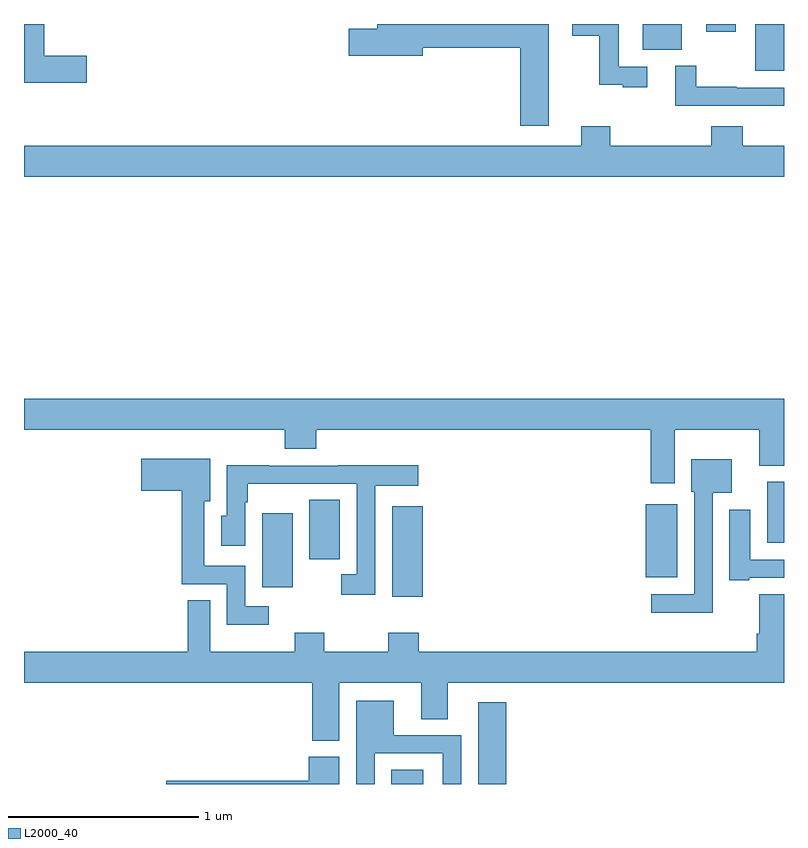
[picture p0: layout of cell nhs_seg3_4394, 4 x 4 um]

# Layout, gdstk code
import gdstk
lib = gdstk.Library(unit=1e-6, precision=1e-09)
def R(c, l, rs):  # rectangles x0, y0, x1, y1
    for r in rs: c.add(gdstk.rectangle(r[:2], r[2:], *l))
def P(c, l, *ps):  # polygons
    for p in ps: c.add(gdstk.Polygon(p, *l))
L2000_40 = (2000, 40)

nhs_seg3_4394 = lib.new_cell('nhs_seg3_4394')
R(nhs_seg3_4394, L2000_40, [(346.934,684.4,347.101,684.476), (347.39,684.4,347.537,684.829), (346.937,685.386,347.098,685.861), (346.253,685.436,346.414,685.825), (348.272,685.487,348.439,685.873), (346.502,685.584,346.663,685.895), (348.911,685.67,349,685.99), (348.848,688.154,349,688.4), (348.257,688.265,348.463,688.4), (348.591,688.359,348.745,688.4)])
P(nhs_seg3_4394, L2000_40, [(347.761,688.4),(346.859,688.4),(346.859,688.376),(346.71,688.376),(346.71,688.234),(347.098,688.234),(347.098,688.276),(347.612,688.276),(347.612,687.864),(347.761,687.864)],
  [(348.28,688.176),(348.129,688.176),(348.129,688.4),(347.886,688.4),(347.886,688.339),(348.028,688.339),(348.028,688.079),(348.152,688.079),(348.152,688.068),(348.28,688.068)],
  [(345.331,688.232),(345.107,688.232),(345.107,688.4),(345,688.4),(345,688.09),(345.331,688.09)],
  [(349,688.065),(348.752,688.065),(348.752,688.07),(348.538,688.07),(348.538,688.18),(348.428,688.18),(348.428,687.969),(349,687.969)],
  [(349,687.76),(348.782,687.76),(348.782,687.862),(348.617,687.862),(348.617,687.76),(348.086,687.76),(348.086,687.862),(347.933,687.862),(347.933,687.76),(345,687.76),(345,687.596),(349,687.596)],
  [(348.424,686.264),(348.869,686.264),(348.869,686.075),(349,686.075),(349,686.428),(345,686.428),(345,686.264),(346.373,686.264),(346.373,686.165),(346.538,686.165),(346.538,686.264),(348.299,686.264),(348.299,685.983),(348.424,685.983)],
  [(346.288,685.335),(346.164,685.335),(346.164,685.548),(345.949,685.548),(345.949,685.889),(345.979,685.889),(345.979,686.113),(345.618,686.113),(345.618,685.943),(345.831,685.943),(345.831,685.452),(346.068,685.452),(346.068,685.238),(346.288,685.238)],
  [(348.624,685.934),(348.724,685.934),(348.724,686.11),(348.512,686.11),(348.512,685.938),(348.528,685.938),(348.528,685.398),(348.3,685.398),(348.3,685.301),(348.624,685.301)],
  [(346.848,685.97),(347.074,685.97),(347.074,686.078),(346.655,686.078),(346.655,686.076),(346.289,686.076),(346.289,686.078),(346.068,686.078),(346.068,685.812),(346.037,685.812),(346.037,685.653),(346.164,685.653),(346.164,685.883),(346.177,685.883),(346.177,685.979),(346.406,685.979),(346.406,685.98),(346.752,685.98),(346.752,685.503),(346.671,685.503),(346.671,685.395),(346.848,685.395)],
  [(348.817,685.485),(349,685.485),(349,685.581),(348.823,685.581),(348.823,685.843),(348.713,685.843),(348.713,685.473),(348.817,685.473)],
  [(346.66,684.932),(347.09,684.932),(347.09,684.742),(347.23,684.742),(347.23,684.932),(349,684.932),(349,685.4),(348.869,685.4),(348.869,685.192),(348.857,685.192),(348.857,685.096),(347.078,685.096),(347.078,685.195),(346.918,685.195),(346.918,685.096),(346.581,685.096),(346.581,685.195),(346.426,685.195),(346.426,685.096),(345.979,685.096),(345.979,685.367),(345.861,685.367),(345.861,685.096),(345,685.096),(345,684.932),(346.517,684.932),(346.517,684.628),(346.66,684.628)],
  [(346.845,684.561),(347.205,684.561),(347.205,684.4),(347.301,684.4),(347.301,684.657),(346.945,684.657),(346.945,684.838),(346.749,684.838),(346.749,684.4),(346.845,684.4)],
  [(346.66,684.543),(346.499,684.543),(346.499,684.416),(345.749,684.416),(345.749,684.4),(346.66,684.4)])

lib.write_gds('nhs_seg3_4394.gds')
